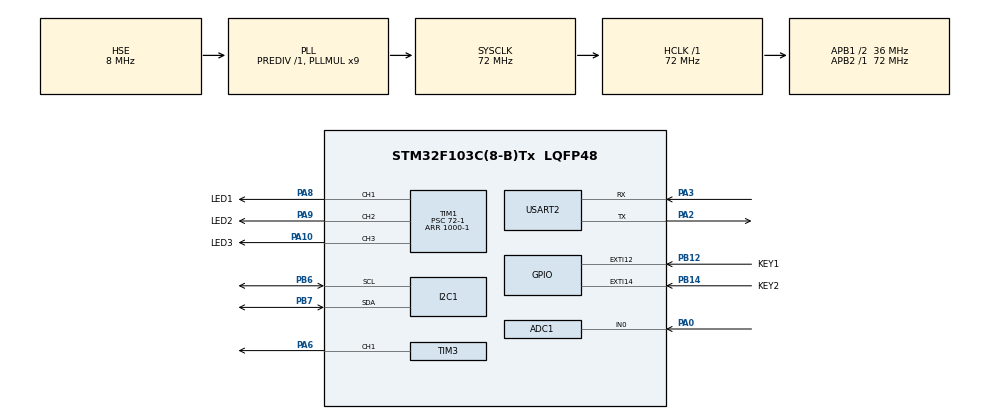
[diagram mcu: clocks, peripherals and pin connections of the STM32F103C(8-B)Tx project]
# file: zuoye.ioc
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ADC1.Channel-0\#ChannelRegularConversion=ADC_CHANNEL_0
ADC1.NbrOfConversionFlag=1
ADC1.Rank-0\#ChannelRegularConversion=1
ADC1.SamplingTime-0\#ChannelRegularConversion=ADC_SAMPLETIME_55CYCLES_5
ADC1.master=1
Dma.Request0=USART2_RX
Dma.Request1=USART2_TX
Dma.USART2_RX.0.Direction=DMA_PERIPH_TO_MEMORY
Dma.USART2_RX.0.Instance=DMA1_Channel6
Dma.USART2_RX.0.MemDataAlignment=DMA_MDATAALIGN_BYTE
Dma.USART2_RX.0.MemInc=DMA_MINC_ENABLE
Dma.USART2_RX.0.Mode=DMA_NORMAL
Dma.USART2_RX.0.PeriphDataAlignment=DMA_PDATAALIGN_BYTE
Dma.USART2_RX.0.PeriphInc=DMA_PINC_DISABLE
Dma.USART2_RX.0.Priority=DMA_PRIORITY_LOW
Dma.USART2_TX.1.Direction=DMA_MEMORY_TO_PERIPH
Dma.USART2_TX.1.Instance=DMA1_Channel7
Dma.USART2_TX.1.MemDataAlignment=DMA_MDATAALIGN_BYTE
Dma.USART2_TX.1.MemInc=DMA_MINC_ENABLE
Dma.USART2_TX.1.Mode=DMA_NORMAL
Dma.USART2_TX.1.PeriphDataAlignment=DMA_PDATAALIGN_BYTE
Dma.USART2_TX.1.PeriphInc=DMA_PINC_DISABLE
Dma.USART2_TX.1.Priority=DMA_PRIORITY_LOW
Mcu.Family=STM32F1
Mcu.Name=STM32F103C(8-B)Tx
Mcu.Package=LQFP48
NVIC.DMA1_Channel6_IRQn=true\:0\:0\:false\:false\:true\:false\:true\:true
NVIC.DMA1_Channel7_IRQn=true\:0\:0\:false\:false\:true\:false\:true\:true
NVIC.EXTI15_10_IRQn=true\:0\:0\:false\:false\:true\:true\:true\:true
NVIC.PriorityGroup=NVIC_PRIORITYGROUP_4
NVIC.USART2_IRQn=true\:0\:0\:false\:false\:true\:false\:true\:true
PA0-WKUP.Signal=ADCx_IN0
PA10.GPIO_Label=LED3
PA10.Signal=S_TIM1_CH3
PA13.Mode=Serial_Wire
PA13.Signal=SYS_JTMS-SWDIO
PA14.Mode=Serial_Wire
PA14.Signal=SYS_JTCK-SWCLK
PA2.Mode=Asynchronous
PA2.Signal=USART2_TX
PA3.Mode=Asynchronous
PA3.Signal=USART2_RX
PA6.Signal=S_TIM3_CH1
PA8.GPIO_Label=LED1
PA8.Signal=S_TIM1_CH1
PA9.GPIO_Label=LED2
PA9.Signal=S_TIM1_CH2
PB12.GPIO_Label=KEY1
PB12.GPIO_ModeDefaultEXTI=GPIO_MODE_IT_RISING_FALLING
PB12.GPIO_PuPd=GPIO_PULLUP
PB12.Signal=GPXTI12
PB14.GPIO_Label=KEY2
PB14.GPIO_ModeDefaultEXTI=GPIO_MODE_IT_RISING_FALLING
PB14.GPIO_PuPd=GPIO_PULLUP
PB14.Signal=GPXTI14
PB6.Mode=I2C
PB6.Signal=I2C1_SCL
PB7.Mode=I2C
PB7.Signal=I2C1_SDA
PD0-OSC_IN.Mode=HSE-External-Oscillator
PD0-OSC_IN.Signal=RCC_OSC_IN
PD1-OSC_OUT.Mode=HSE-External-Oscillator
PD1-OSC_OUT.Signal=RCC_OSC_OUT
ProjectManager.HeapSize=0x200
ProjectManager.StackSize=0x400
ProjectManager.TargetToolchain=CMake
RCC.ADCPresc=RCC_ADCPCLK2_DIV6
RCC.AHBFreq_Value=72000000
RCC.APB1CLKDivider=RCC_HCLK_DIV2
RCC.APB1Freq_Value=36000000
RCC.APB1TimFreq_Value=72000000
RCC.APB2Freq_Value=72000000
RCC.APB2TimFreq_Value=72000000
RCC.HCLKFreq_Value=72000000
RCC.PLLMUL=RCC_PLL_MUL9
RCC.PLLSourceVirtual=RCC_PLLSOURCE_HSE
RCC.SYSCLKFreq_VALUE=72000000
RCC.SYSCLKSource=RCC_SYSCLKSOURCE_PLLCLK
RCC.USBFreq_Value=72000000
SH.ADCx_IN0.0=ADC1_IN0,IN0
SH.S_TIM1_CH1.0=TIM1_CH1,PWM Generation1 CH1
SH.S_TIM1_CH2.0=TIM1_CH2,PWM Generation2 CH2
SH.S_TIM1_CH3.0=TIM1_CH3,PWM Generation3 CH3
SH.S_TIM3_CH1.0=TIM3_CH1,PWM Generation1 CH1
TIM1.Channel-PWM\ Generation1\ CH1=TIM_CHANNEL_1
TIM1.Channel-PWM\ Generation2\ CH2=TIM_CHANNEL_2
TIM1.Channel-PWM\ Generation3\ CH3=TIM_CHANNEL_3
TIM1.OCPolarity_1=TIM_OCPOLARITY_HIGH
TIM1.OCPolarity_2=TIM_OCPOLARITY_HIGH
TIM1.OCPolarity_3=TIM_OCPOLARITY_HIGH
TIM1.Period=1000-1
TIM1.Prescaler=72-1
TIM3.Channel-PWM\ Generation1\ CH1=TIM_CHANNEL_1
TIM3.Prescaler=720-1
USART2.VirtualMode=VM_ASYNC
VP_TIM3_VS_ClockSourceINT.Mode=Internal
board=custom

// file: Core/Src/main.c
/* USER CODE BEGIN Header */
/**
  ******************************************************************************
  * @file           : main.c
  * @brief          : Main program body
  ******************************************************************************
  * @attention
  *
  * Copyright (c) 2026 STMicroelectronics.
  * All rights reserved.
  *
  * This software is licensed under terms that can be found in the LICENSE file
  * in the root directory of this software component.
  * If no LICENSE file comes with this software, it is provided AS-IS.
  *
  ******************************************************************************
  */
/* USER CODE END Header */
#include "main.h"
#include "adc.h"
#include "dma.h"
#include "i2c.h"
#include "tim.h"
#include "usart.h"
#include "gpio.h"

/* USER CODE BEGIN Includes */
#include <stdint.h>
#include <stdio.h>
#include <string.h>
#include"oled.h"
/* USER CODE END Includes */

/* USER CODE BEGIN PV */
uint16_t led_brightness = 0;//呼吸灯的亮度(0-999)
int16_t led_direction = 1;//呼吸灯亮度变化方向：1=变亮，-1=变暗
uint8_t LED_breath_enable = 1;//呼吸灯是否启用
uint32_t last_led_time = 0;//上一次更新呼吸灯亮度的时间，单位 ms

uint32_t key1_last_edge_time = 0;//上一次按键1的电平变化时间，单位 ms
uint8_t key1_wait_double_click = 0;//按键1是否正在等待第二次短按
uint32_t key1_first_click_time = 0;//按键1第一次短按松开的时间，单位 ms
uint8_t key1_is_pressed = 0;//按键1是否正被按住
uint32_t key1_press_start_time = 0;//按键1按下开始的时间，单位 ms
uint8_t key2_is_pressed = 0;//按键2是否正被按住
uint32_t key2_press_start_time = 0;//按键2按下开始的时间，单位 ms
uint32_t key2_last_edge_time = 0;//上一次按键2的电平变化时间，单位 ms
uint8_t key2_wait_double_click = 0;//按键2是否正在等待第二次短按
uint32_t key2_first_click_time = 0;//按键2第一次短按松开的时间，单位 ms
uint8_t both_keys_active = 0;//两个按键正在同时短按
uint8_t LED2_always_on = 0;//LED2是否常亮
 uint8_t LED1_always_on = 0;//LED1是否常亮
uint8_t led3_flash_enable = 0;//LED3是否启用闪烁
uint8_t computercontrol = 0;//是否由电脑控制（电脑或按键）
uint8_t led1mode = 0;//LED1的模式 （0=呼吸，1=闪烁，2=常亮，3=熄灭）
uint8_t led2mode = 0;//LED2的模式 （0=呼吸，1=闪烁，2=常亮，3=熄灭）
uint8_t led3mode = 0;//LED3的模式 （0=呼吸，1=闪烁，2=常亮，3=熄灭）
uint8_t receivedata[100]; //接收数据缓冲区（DMA接收到的电脑数据）
char keytext[20] = "none";//按键文本
char sendata[250]; //发送数据缓冲区（stm32要发送的数据）
uint16_t sendsize = 0;//本次实际要发送的字符数量
uint32_t last_send_time = 0;//上一次串口发送数据的时间，单位 ms
uint8_t mpuok = 0;//mpu是否正常连接
uint8_t mpuid = 0;//读取MPU6050芯片ID
uint8_t mpu6050_data[14];
uint8_t tiltwarning = 0;//倾斜警告
uint16_t adcvalue = 0;//ADC初始值
uint32_t adcvoltage = 0;//ADC换算后的电压值
uint32_t adclastreadtime = 0;//上一次读取ADC的时间，单位 ms

/* 三轴加速度原始值 */
int16_t accelerationX = 0;
int16_t accelerationY = 0;
int16_t accelerationZ = 0;

/* 三轴角速度原始值 */
int16_t gyroX = 0;
int16_t gyroY = 0;
int16_t gyroZ = 0;
uint32_t mpu6050_last_read_time = 0;//上一次读取MPU6050数据的时间，单位 ms
uint32_t lastoledtime = 0;//上一次OLED刷新时间，单位 ms
char oledtext[40] ;//OLED显示的文本
uint8_t oledpage = 0;// 0 MPU6050页面 1 LED页面 2 消息页面 3 计时与PWM页面 4 ADC电压
char messageHistory[10][21]; //最近十条消息历史记录
uint8_t messageCount = 0;//消息数量
uint8_t messageIndex = 0;//当前查看第几条消息（索引从0开始）
uint8_t watchstates = 0;//秒表状态：0是暂停，1是正在计时
uint32_t watchstarttime = 0;//秒表开始计时时间，单位 ms
uint32_t watchnowtotallytime = 0;//秒表当前总时间，单位 ms
uint32_t watchsavedtime = 0;//暂停之前已经累计的时间，单位 ms
uint8_t countdownstates = 0;//倒计时状态：0是暂停，1是正在倒计时
uint32_t countdownstarttime = 0;//倒计时开始计时时间，单位 ms
uint32_t countdownremainingtime = 24 * 60 * 60 * 1000;//倒计时当前剩余时间，单位 ms
uint16_t pwmfrequency = 50;//PWM频率
uint16_t pwmcomparetarget = 150;//比较的目标值
uint16_t pwmnowempty = 150;//输出的compare值
uint16_t pwmchangestep = 1;//PWM变化步长
uint32_t pwmlasttime = 0;//上一次PWMcompare值变化的时间，单位 ms
uint16_t pwmemptypersent = 75;//占空比单位为0.1%
/* USER CODE END PV */

void SystemClock_Config(void);

/* USER CODE BEGIN 0 */
#define KEY_DOUDONG 30U
#define KEY_LONG 800U
#define KEY_DOUBLE_CLICK 350U
#define KEY_SONG_TIME 120U//同时按下两个按键的时间窗口，单位 ms
#define MPU6050_ADDRESS 0x68
#define PWM_TIMER_CLOCK 100000U
#define PWM_MAX_FREQUENCY 999U
#define PWM_MIN_FREQUENCY 2U
#define SERVO_FREQUENCY 50
#define TILT_THRESHOLD 5000

static void Restore_Breathing_Mpu_Mode(void)//两按键同时短按：恢复呼吸灯并进入MPU6050页面
{
    key1_wait_double_click = 0;
    key2_wait_double_click = 0;
    computercontrol = 0;
    LED_breath_enable = 1;
    LED1_always_on = 0;
    LED2_always_on = 0;
    led3_flash_enable = 0;
    oledpage = 0;
    strcpy(keytext,"K1_K2_AN");
}
void MPU6050_Write(uint8_t reg, uint8_t data)
{
    uint8_t writedata[2] = {reg, data};
    HAL_I2C_Master_Transmit(&hi2c1, MPU6050_ADDRESS << 1, writedata, 2,100);

}
void MPU6050_Readdata(uint8_t reg, uint8_t *data, uint8_t len)
{
    HAL_I2C_Master_Transmit(&hi2c1, MPU6050_ADDRESS << 1, &reg, 1, 100);
    HAL_I2C_Master_Receive(&hi2c1, MPU6050_ADDRESS << 1, data, len, 100);
}
void Savemessage(uint16_t Size)
{
    uint8_t i;
    uint8_t messagelength = 0;
    if (messageCount < 10)
    {
        messageIndex = messageCount;
        messageCount++;
    }else
    {
        for (i = 0; i < 9; i++)
        {
            strcpy(messageHistory[i], messageHistory[i + 1]);
        }
        messageIndex = 9;
    }
    while (messagelength < 20 && messagelength + 1 < Size && receivedata[messagelength + 1] != '\n' && receivedata[messagelength + 1] != '\r')
    {
        messageHistory[messageIndex][messagelength] = receivedata[messagelength + 1];
        messagelength++;
    }
    messageHistory[messageIndex][messagelength] = '\0';
    oledpage = 2; //进入消息页面
}
void HAL_GPIO_EXTI_Callback(uint16_t GPIO_Pin)//按键外部中断回调函数
{
    if (GPIO_Pin == KEY1_Pin)
    {
        uint32_t current_time = HAL_GetTick();
        uint32_t press_time;

        if (current_time - key1_last_edge_time < KEY_DOUDONG)
        {
            return;
        }
        key1_last_edge_time = current_time;

        if (HAL_GPIO_ReadPin(KEY1_GPIO_Port, KEY1_Pin) == GPIO_PIN_RESET)
        {
            key1_is_pressed = 1;
            key1_press_start_time = current_time;
            if (key2_is_pressed == 1 && current_time - key2_press_start_time <= KEY_SONG_TIME)
            {
                both_keys_active = 1;
                Restore_Breathing_Mpu_Mode();
            }
            return;
        }

        if (key1_is_pressed == 0)
        {
            return;
        }
        key1_is_pressed = 0;
        if (both_keys_active == 1)
        {
            if (key2_is_pressed == 0)
            {
                both_keys_active = 0;
            }
            return;
        }

        press_time = current_time - key1_press_start_time;
        if (press_time >= KEY_LONG)//K1长按：关闭呼吸灯
        {
            computercontrol = 0;
            LED_breath_enable = 0;
            LED1_always_on = 0;
            LED2_always_on = 0;
            led3_flash_enable = 0;
            key1_wait_double_click = 0;
            strcpy(keytext, "K1_LONG");
        }
        else if (key1_wait_double_click == 1 && current_time - key1_first_click_time <= KEY_DOUBLE_CLICK)//K1双击：LED2常亮/呼吸切换
        {
            computercontrol = 0;
            LED_breath_enable = 1;
            LED2_always_on = !LED2_always_on;
            key1_wait_double_click = 0;
            strcpy(keytext, "K1_DOUBLE_CLICK");
        }
        else
        {
            key1_wait_double_click = 1;
            key1_first_click_time = current_time;
       }
        return;
    }

    if (GPIO_Pin == KEY2_Pin)
    {
        uint32_t current_time = HAL_GetTick();
        uint32_t press_time;

        if (current_time - key2_last_edge_time < KEY_DOUDONG)
        {
            return;
        }
        key2_last_edge_time = current_time;

        if (HAL_GPIO_ReadPin(KEY2_GPIO_Port, KEY2_Pin) == GPIO_PIN_RESET)
        {
            key2_is_pressed = 1;
            key2_press_start_time = current_time;
            if (key1_is_pressed == 1 && current_time - key1_press_start_time <= KEY_SONG_TIME)
            {
                both_keys_active = 1;
                Restore_Breathing_Mpu_Mode();
            }
            return;
        }

        if (key2_is_pressed == 0)
        {
            return;
        }
        key2_is_pressed = 0;
        if (both_keys_active == 1)
        {
            if (key1_is_pressed == 0)
            {
                both_keys_active = 0;
            }
            return;
        }

        press_time = current_time - key2_press_start_time;
        if (press_time >= KEY_LONG)//K2长按：打开呼吸灯并进入消息页面
        {
            computercontrol = 0;
            key2_wait_double_click = 0;
            LED_breath_enable = 1;
            LED1_always_on = 0;
            LED2_always_on = 0;
            led3_flash_enable = 0;
            if (messageCount > 0)
            {
                messageIndex = messageCount - 1;
            }
            oledpage = 2;
            strcpy(keytext, "MESSAGE");
        }
        else if (key2_wait_double_click == 1 && current_time - key2_first_click_time <= KEY_DOUBLE_CLICK)//K2双击：MPU和LED页面切换
        {
            computercontrol = 0;
            key2_wait_double_click = 0;
            oledpage = (oledpage == 0) ? 1 : 0;
            strcpy(keytext, "K2_DOUBLE_CLICK");
        }
        else
        {
            key2_wait_double_click = 1;
            key2_first_click_time = current_time;
        }
    }
}
uint8_t qu_san_ge_shu(uint8_t*text,uint16_t*value)
{
    if (text[0] < '0' || text[0] > '9' || text[1] < '0' || text[1] > '9' || text[2] < '0' || text[2] > '9')
    {
        return 0;
    }
    *value = (text[0] - '0') * 100 + (text[1] - '0') * 10 + (text[2] - '0');
    return 1;
}
void PWM_setempty(uint16_t empty)
{
    uint32_t periodcount;
    if (empty > 999)
    {
        return;
    }
    periodcount = __HAL_TIM_GET_AUTORELOAD(&htim3) + 1;
    pwmemptypersent = empty;
    pwmcomparetarget = (uint16_t)(periodcount * empty / 1000U);

}
void PWM_setfrequency(uint16_t frequency)
{
    uint32_t periodcount;
   if (frequency < PWM_MIN_FREQUENCY || frequency > PWM_MAX_FREQUENCY)
   {
       return;
   }
    periodcount = PWM_TIMER_CLOCK / frequency;
    __HAL_TIM_SET_AUTORELOAD(&htim3,periodcount - 1);
    __HAL_TIM_SET_COUNTER(&htim3, 0);
    pwmfrequency = frequency;
    pwmcomparetarget = (uint16_t)(periodcount * pwmemptypersent / 1000U);
    if (pwmnowempty > periodcount)
    {
        pwmnowempty = (uint16_t)periodcount;
    }
    __HAL_TIM_SET_COMPARE(&htim3, TIM_CHANNEL_1, pwmnowempty);
}
 void servo_setangle(uint16_t angle)
{
    uint16_t empty;
    if (angle > 180)
    {
        return;
    }
    if (pwmfrequency != SERVO_FREQUENCY)
    {
        PWM_setfrequency(SERVO_FREQUENCY);
    }
    /* 普通 180° 舵机使用 1.0 ms～2.0 ms 脉宽，避免两端顶住后抖动。 */
    empty = (uint16_t)(50U + (((uint32_t)angle * 50U + 90U) / 180U));
    PWM_setempty(empty);
}
void PWM_Update(uint32_t current_time)
{
    uint16_t chazhi;
    if (current_time - pwmlasttime < 20)
    {
        return;
    }
    pwmlasttime = current_time;
    if (pwmnowempty < pwmcomparetarget)
    {
        chazhi = pwmcomparetarget - pwmnowempty;
      if (chazhi <= pwmchangestep)
      {
        pwmnowempty = pwmcomparetarget;
      }else
      {
        pwmnowempty = pwmnowempty + pwmchangestep;
      }
      __HAL_TIM_SET_COMPARE(&htim3, TIM_CHANNEL_1, pwmnowempty);
    }
    else if (pwmnowempty > pwmcomparetarget)
    {
        chazhi = pwmnowempty - pwmcomparetarget;
      if (chazhi <= pwmchangestep)
      {
        pwmnowempty = pwmcomparetarget;
      }else
      {
        pwmnowempty = pwmnowempty - pwmchangestep;
      }
      __HAL_TIM_SET_COMPARE(&htim3, TIM_CHANNEL_1, pwmnowempty);
    }

      }
 void countdown_update(uint32_t current_time)
{
    uint32_t timeleft;
    if (countdownstates == 0)
    {
        return;
    }
    timeleft = current_time - countdownstarttime;
    if (timeleft >= countdownremainingtime)
    {
        countdownstates = 0;
        countdownremainingtime = 0;
        strcpy(keytext, "COUNTDOWN_END");
    }else
    {
        countdownremainingtime = countdownremainingtime - timeleft;
        countdownstarttime = current_time;
    }
}
void HAL_UARTEx_RxEventCallback(UART_HandleTypeDef *huart, uint16_t Size)//串口接收回调函数(串口空闲时调用)
{
    uint16_t value;
    if (huart == &huart2)
    {
        if (Size >= 2)
        {
            if (receivedata[0] == '0' && receivedata[1] == '0')
            {
                computercontrol = 0;
            }
            else if (receivedata[0] == '1')
            {
                computercontrol = 1;

                if (receivedata[1] == '1') led1mode = 0;
                if (receivedata[1] == '2') led1mode = 1;
                if (receivedata[1] == '3') led1mode = 2;
                if (receivedata[1] == '4') led1mode = 3;
            }
            else if (receivedata[0] == '2')
            {
                computercontrol = 1;

                if (receivedata[1] == '1') led2mode = 0;
                if (receivedata[1] == '2') led2mode = 1;
                if (receivedata[1] == '3') led2mode = 2;
                if (receivedata[1] == '4') led2mode = 3;
            }
            else if (receivedata[0] == '3')
            {
                computercontrol = 1;

                if (receivedata[1] == '1') led3mode = 0;
                if (receivedata[1] == '2') led3mode = 1;
                if (receivedata[1] == '3') led3mode = 2;
                if (receivedata[1] == '4') led3mode = 3;
            }else if (receivedata[0] == '4')
            {
                if (receivedata[1] == '1') oledpage = 0;
                if (receivedata[1] == '2') oledpage = 1;
                if (receivedata[1] == '3') oledpage = 2;
                if (receivedata[1] == '4') oledpage = 3;
                if (receivedata[1] == '5') oledpage = 4;
            }else if (receivedata[0] == '5')
            {
                oledpage = 3;
                if (receivedata[1] == '1')
                {
                    if (watchstates == 0)
                    {
                        watchstates = 1;
                        watchstarttime = HAL_GetTick();
                        strcpy(keytext, "WATCH_START");
                    }
                }else if (receivedata[1] == '2')
                {
                    if (watchstates == 1)
                    {
                        watchstates = 0;
                        watchsavedtime += HAL_GetTick() - watchstarttime;

                        strcpy(keytext, "WATCH_PAUSE");
                    }
                }else if (receivedata[1] == '3')
                {
                    watchstates = 0;
                    watchsavedtime = 0;
                    watchstarttime = 0;
                    watchnowtotallytime = 0;
                    strcpy(keytext, "WATCH_RESET");
                }
            }else if (receivedata[0] == '6')
            {
                oledpage = 3;
                if (receivedata[1] == '1')
                {
                    if (countdownremainingtime > 0)
                    {
                        countdownstates = 1;
                        countdownstarttime = HAL_GetTick();
                        strcpy(keytext, "COUNTDOWN_START");
                    }
                }else if (receivedata[1] == '2')
                {
                    if (countdownstates == 1)
                    {
                        countdown_update(HAL_GetTick());
                    }
                    countdownstates = 0;
                    strcpy(keytext, "COUNTDOWN_PAUSE");
                }else if (receivedata[1] == '3')
                {
                    countdownstates = 0;
                    countdownremainingtime = 24U * 60U * 60U * 1000U;
                    countdownstarttime = 0;
                    strcpy(keytext, "COUNTDOWN_RESET");
                }
            }else if (receivedata[0] == '7')
            {
                oledpage = 3;
                if (receivedata[1] == '1')
                {
                    servo_setangle(0);
                    strcpy(keytext, "SERVO_0");
                }else if (receivedata[1] == '2')
                {
                    servo_setangle(90);
                    strcpy(keytext, "SERVO_90");
                }else if (receivedata[1] == '3')
                {
                    servo_setangle(180);
                    strcpy(keytext, "SERVO_180");
                }else if (receivedata[1] == '4')
                {
                    pwmchangestep = 1;
                    strcpy(keytext, "PWM_SLOW");
                }else if (receivedata[1] == '5')
                {
                    pwmchangestep = 2;
                    strcpy(keytext, "PWM_MID");
                }else if (receivedata[1] == '6')
                {
                    pwmchangestep = 4;
                    strcpy(keytext, "PWM_FAST");
                }
            }
        else if (receivedata[0] == 'A' && Size >= 4)
        {
            oledpage = 3;
            if (qu_san_ge_shu(&receivedata[1], &value) && (value >= 0 && value <= 180))
            {
                servo_setangle(value);
                strcpy(keytext, "PWM_ANGLE");
            }
        }
        else if (receivedata[0] == 'D' && Size >= 4)
        {
            oledpage = 3;
            if (qu_san_ge_shu(&receivedata[1], &value) && value <= 999)
            {
                PWM_setempty(value);
                strcpy(keytext, "PWM_EMPTY");

            }
        }else if (receivedata[0] == 'R' && Size >= 4)
        {
            oledpage = 3;
            if (qu_san_ge_shu(&receivedata[1], &value) && value >= 1 && value <= 500)
            {
             pwmchangestep = value;
             PWM_Update(HAL_GetTick());
                strcpy(keytext, "PWM_RATE");
            }
        }
        else if (receivedata[0] == 'F' && Size >= 4)
        {
              oledpage = 3;
              if (qu_san_ge_shu(&receivedata[1], &value))
              {
                PWM_setfrequency(value);
                strcpy(keytext, "PWM_FREQ");
              }
        }
    }
}
        HAL_UARTEx_ReceiveToIdle_DMA(&huart2, receivedata, sizeof(receivedata));
        __HAL_DMA_DISABLE_IT(huart2.hdmarx, DMA_IT_HT);
    }

/* USER CODE END 0 */

int main(void)
{

  /* MCU Configuration--------------------------------------------------------*/

  /* Reset of all peripherals, Initializes the Flash interface and the Systick. */
  HAL_Init();

  /* Configure the system clock */
  SystemClock_Config();

  /* Initialize all configured peripherals */
  MX_GPIO_Init();
  MX_DMA_Init();
  MX_TIM1_Init();
  MX_USART2_UART_Init();
  MX_I2C1_Init();
  MX_TIM3_Init();
  MX_ADC1_Init();
  /* USER CODE BEGIN 2 */
   HAL_ADCEx_Calibration_Start(&hadc1);

    HAL_TIM_PWM_Start(&htim1, TIM_CHANNEL_1);
    HAL_TIM_PWM_Start(&htim1, TIM_CHANNEL_2);
    HAL_TIM_PWM_Start(&htim1, TIM_CHANNEL_3);
    PWM_setfrequency(pwmfrequency);
    if (HAL_TIM_PWM_Start(&htim3, TIM_CHANNEL_1) != HAL_OK)
    {
        Error_Handler();
    }

    HAL_Delay(20);
    OLED_Init();
    MPU6050_Write(0x6B, 0x00);//唤醒MPU6050
    MPU6050_Readdata(0x75, &mpuid, 1);//读取MPU6050芯片ID
    if (mpuid == 0x68)
{
    mpuok = 1;
    strcpy(keytext, "MPU_OK");
}
else
{
    mpuok = 0;
    strcpy(keytext, "MPU_ERROR");
}
    HAL_UARTEx_ReceiveToIdle_DMA(&huart2, receivedata, sizeof(receivedata));
    __HAL_DMA_DISABLE_IT(huart2.hdmarx, DMA_IT_HT);

  /* USER CODE END 2 */

  /* Infinite loop */
  /* USER CODE BEGIN WHILE */
  while (1)
  {
    uint32_t current_time = HAL_GetTick();
    uint16_t flashbrightness;
    if (watchstates == 1)
    {
        watchnowtotallytime = watchsavedtime + current_time - watchstarttime;
    }else
    {
    watchnowtotallytime = watchsavedtime;
    }
    countdown_update(current_time);
    PWM_Update(current_time);
    if (current_time - adclastreadtime >= 200)
    {
        adclastreadtime = current_time;
        if (HAL_ADC_Start(&hadc1) == HAL_OK)
        {
            if (HAL_ADC_PollForConversion(&hadc1, 5) == HAL_OK)
        {
            adcvalue = HAL_ADC_GetValue(&hadc1);
            adcvoltage = (uint32_t)adcvalue * 3300 / 4096;
        }
        HAL_ADC_Stop(&hadc1);
        }

    }

    if (key1_wait_double_click == 1 && current_time - key1_first_click_time > KEY_DOUBLE_CLICK)//K1短按：切换呼吸灯开关
    {
        key1_wait_double_click = 0;
        computercontrol = 0;
        LED_breath_enable = !LED_breath_enable;
        LED2_always_on = 0;
        strcpy(keytext, "K1_SHORT");
    }
    if (key2_wait_double_click == 1 && current_time - key2_first_click_time > KEY_DOUBLE_CLICK)//K2短按：其他页面切换LED3闪烁，消息页面查看上一条
    {
        key2_wait_double_click = 0;
        computercontrol = 0;
        if (oledpage == 2 && messageCount > 0)
        {
            if (messageIndex == 0)
            {
                messageIndex = messageCount - 1;
            }
            else
            {
                messageIndex--;
            }
            strcpy(keytext, "MSG_UP");
        }
        else
        {
            led3_flash_enable = !led3_flash_enable;
            strcpy(keytext, "K2_SHORT");
        }
    }
    if (mpuok == 1 && current_time - mpu6050_last_read_time >= 100)
    {
        mpu6050_last_read_time = current_time;
        MPU6050_Readdata(0x3B, mpu6050_data, 14);
        accelerationX = (int16_t)((mpu6050_data[0] << 8) | mpu6050_data[1]);
        accelerationY = (int16_t)((mpu6050_data[2] << 8) | mpu6050_data[3]);
        accelerationZ = (int16_t)((mpu6050_data[4] << 8) | mpu6050_data[5]);
        gyroX = (int16_t)((mpu6050_data[8] << 8) | mpu6050_data[9]);
        gyroY = (int16_t)((mpu6050_data[10] << 8) | mpu6050_data[11]);
        gyroZ = (int16_t)((mpu6050_data[12] << 8) | mpu6050_data[13]);
        if (accelerationX > TILT_THRESHOLD || accelerationX < -TILT_THRESHOLD || accelerationY > TILT_THRESHOLD || accelerationY < -TILT_THRESHOLD)
        {
           tiltwarning = 1;
        }else {
        tiltwarning = 0;
        }
    }

    if (LED_breath_enable == 0)
    {
        __HAL_TIM_SET_COMPARE(&htim1, TIM_CHANNEL_1, 0);
        __HAL_TIM_SET_COMPARE(&htim1, TIM_CHANNEL_2, 0);
        __HAL_TIM_SET_COMPARE(&htim1, TIM_CHANNEL_3, 0);
    }else
    {
        if (current_time - last_led_time >=2)
    {
        last_led_time = current_time;

        if (led_brightness >= 999)
        {
            led_brightness = 999;
            led_direction = -1;
        }
        else if (led_brightness == 0)
        {
            led_direction = 1;
        }
    }
     led_brightness = (uint16_t)((int16_t)led_brightness + led_direction);
        if (LED1_always_on == 1)
        {
            __HAL_TIM_SET_COMPARE(&htim1, TIM_CHANNEL_1, 999);
        }
        else
        {
            __HAL_TIM_SET_COMPARE(&htim1, TIM_CHANNEL_1, led_brightness);
        }
        if (LED2_always_on == 1)
        {
            __HAL_TIM_SET_COMPARE(&htim1, TIM_CHANNEL_2, 999);
        }
        else
        {
            __HAL_TIM_SET_COMPARE(&htim1, TIM_CHANNEL_2, led_brightness);
        }
        if (led3_flash_enable == 1)
        {
            if ((current_time / 100 )% 2 == 0)
            {
                __HAL_TIM_SET_COMPARE(&htim1, TIM_CHANNEL_3, 999);
            }
            else
            {
                __HAL_TIM_SET_COMPARE(&htim1, TIM_CHANNEL_3, 0);
            }
        }
        else
        {
            __HAL_TIM_SET_COMPARE(&htim1, TIM_CHANNEL_3, led_brightness);
        }
    }

    flashbrightness = ((current_time / 100U) % 2U == 0U) ? 999U : 0U;
if (computercontrol == 1)
{

    if (led1mode == 0)
    {
        __HAL_TIM_SET_COMPARE(&htim1, TIM_CHANNEL_1, led_brightness);
    }
    else if (led1mode == 1)
    {
        __HAL_TIM_SET_COMPARE(&htim1, TIM_CHANNEL_1, flashbrightness);
    }
    else if (led1mode == 2)
    {
        __HAL_TIM_SET_COMPARE(&htim1, TIM_CHANNEL_1, 999);
    }
    else if (led1mode == 3)
    {
        __HAL_TIM_SET_COMPARE(&htim1, TIM_CHANNEL_1, 0);
    }
    if (led2mode == 0)
    {
        __HAL_TIM_SET_COMPARE(&htim1, TIM_CHANNEL_2, led_brightness);
    }
    else if (led2mode == 1)
    {
        __HAL_TIM_SET_COMPARE(&htim1, TIM_CHANNEL_2, flashbrightness);
    }
    else if (led2mode == 2)
    {
        __HAL_TIM_SET_COMPARE(&htim1, TIM_CHANNEL_2, 999);
    }
    else if (led2mode == 3)
    {
        __HAL_TIM_SET_COMPARE(&htim1, TIM_CHANNEL_2, 0);
    }
    if (led3mode == 0)
    {
        __HAL_TIM_SET_COMPARE(&htim1, TIM_CHANNEL_3, led_brightness);
    }
    else if (led3mode == 1)
    {
        __HAL_TIM_SET_COMPARE(&htim1, TIM_CHANNEL_3, flashbrightness);
    }
    else if (led3mode == 2)
    {
        __HAL_TIM_SET_COMPARE(&htim1, TIM_CHANNEL_3, 999);
    }
    else if (led3mode == 3)
    {
        __HAL_TIM_SET_COMPARE(&htim1, TIM_CHANNEL_3, 0);
    }
}
if (tiltwarning == 1)
{
    if ((current_time / 100U) % 2U == 0U)
    {
        __HAL_TIM_SET_COMPARE(&htim1, TIM_CHANNEL_3, 999);
    }
    else
    {
        __HAL_TIM_SET_COMPARE(&htim1, TIM_CHANNEL_3, 0);
    }
}
if (current_time - lastoledtime >= 200)
{
    lastoledtime = current_time;
    OLED_NewFrame();
    if (oledpage == 0)
    {
        OLED_PrintASCIIString(0, 0, "MPU6050", &afont8x6, OLED_COLOR_NORMAL);
        snprintf(oledtext, sizeof(oledtext), "AX:%d AY:%d", accelerationX, accelerationY);
        OLED_PrintASCIIString(0, 10, oledtext, &afont8x6, OLED_COLOR_NORMAL);
        snprintf(oledtext, sizeof(oledtext), "AZ:%d", accelerationZ);
        OLED_PrintASCIIString(0, 20, oledtext, &afont8x6, OLED_COLOR_NORMAL);
        snprintf(oledtext, sizeof(oledtext), "GX:%d GY:%d", gyroX, gyroY);
        OLED_PrintASCIIString(0, 30, oledtext, &afont8x6, OLED_COLOR_NORMAL);
        snprintf(oledtext, sizeof(oledtext), "GZ:%d", gyroZ);
        OLED_PrintASCIIString(0, 40, oledtext, &afont8x6, OLED_COLOR_NORMAL);
        if (tiltwarning == 1)
        {
            OLED_PrintASCIIString(0, 50, "TILT WARNING", &afont8x6, OLED_COLOR_NORMAL);
        }
        else {
            OLED_PrintASCIIString(0, 50, "NO TILT WARNING", &afont8x6, OLED_COLOR_NORMAL);
        }
    }
    else if (oledpage == 1)
    {
        OLED_PrintASCIIString(0, 0, "LED CONTROL", &afont8x6, OLED_COLOR_NORMAL);
        snprintf(oledtext, sizeof(oledtext), "LED1:%u", (unsigned int)__HAL_TIM_GET_COMPARE(&htim1, TIM_CHANNEL_1));
        OLED_PrintASCIIString(0, 12, oledtext, &afont8x6, OLED_COLOR_NORMAL);
        snprintf(oledtext, sizeof(oledtext), "LED2:%u", (unsigned int)__HAL_TIM_GET_COMPARE(&htim1, TIM_CHANNEL_2));
        OLED_PrintASCIIString(0, 24, oledtext, &afont8x6, OLED_COLOR_NORMAL);
        snprintf(oledtext, sizeof(oledtext), "LED3:%u", (unsigned int)__HAL_TIM_GET_COMPARE(&htim1, TIM_CHANNEL_3));
        OLED_PrintASCIIString(0, 36, oledtext, &afont8x6, OLED_COLOR_NORMAL);
        snprintf(oledtext, sizeof(oledtext), "KEY:%s", keytext);
        OLED_PrintASCIIString(0, 48, oledtext, &afont8x6, OLED_COLOR_NORMAL);
    }
     else if (oledpage == 2)
    {
        OLED_PrintASCIIString(0, 0, "MESSAGE", &afont8x6, OLED_COLOR_NORMAL);
        if (messageCount == 0)
        {
            OLED_PrintASCIIString(0, 16, "NO MESSAGE", &afont8x6, OLED_COLOR_NORMAL);
        }
        else
        {
            snprintf(oledtext, sizeof(oledtext), "MSG %u/%u", (unsigned int)(messageIndex + 1), (unsigned int)messageCount);
            OLED_PrintASCIIString(0, 16, oledtext, &afont8x6, OLED_COLOR_NORMAL);
            OLED_PrintASCIIString(0, 32, messageHistory[messageIndex], &afont8x6, OLED_COLOR_NORMAL);
        }

    }
    else if (oledpage == 3)
    {
        uint32_t swseconds = watchnowtotallytime / 1000;
        uint32_t swdecisecond = (watchnowtotallytime / 100U) % 10U;
        uint32_t cdseconds = countdownremainingtime / 1000;
        uint32_t pwmperiod = __HAL_TIM_GET_AUTORELOAD(&htim3) + 1U;
        uint32_t pwmduty = (__HAL_TIM_GET_COMPARE(&htim3, TIM_CHANNEL_1) * 1000U) / pwmperiod;
        OLED_PrintASCIIString(0, 0, "TIMER & PWM", &afont8x6, OLED_COLOR_NORMAL);
        snprintf(oledtext, sizeof(oledtext), "SW:%02lu:%02lu:%02lu.%lu %s", (unsigned long)(swseconds / 3600), (unsigned long)((swseconds % 3600) / 60), (unsigned long)(swseconds % 60), (unsigned long)swdecisecond, watchstates ? "RUN" : "PAUSE");
        OLED_PrintASCIIString(0, 12, oledtext, &afont8x6, OLED_COLOR_NORMAL);
        snprintf(oledtext, sizeof(oledtext), "CD:%02lu:%02lu:%02lu %s", (unsigned long)(cdseconds / 3600), (unsigned long)((cdseconds % 3600) / 60), (unsigned long)(cdseconds % 60), countdownstates ? "RUN" : "PAUSE");
        OLED_PrintASCIIString(0, 24, oledtext, &afont8x6, OLED_COLOR_NORMAL);
        snprintf(oledtext,sizeof(oledtext),"F:%uHz D%lu.%lu%%", (unsigned int)pwmfrequency, (unsigned long)(pwmduty / 10U), (unsigned long)(pwmduty % 10U));
        OLED_PrintASCIIString(0, 36, oledtext, &afont8x6, OLED_COLOR_NORMAL);
        snprintf(oledtext,sizeof(oledtext),"CCR:%u R:%u",(unsigned int)pwmnowempty,(unsigned int)pwmchangestep);
        OLED_PrintASCIIString(0, 48, oledtext, &afont8x6, OLED_COLOR_NORMAL);
    }
    else if (oledpage == 4)
    {
        OLED_PrintASCIIString(0, 0, "ADC VOLAGE", &afont8x6, OLED_COLOR_NORMAL);
        snprintf(oledtext,sizeof(oledtext),"RAW:%u", (unsigned int)adcvalue);
        OLED_PrintASCIIString(0, 16, oledtext, &afont8x6, OLED_COLOR_NORMAL);
        snprintf(oledtext,sizeof(oledtext),"VOLAGE:%lu.%03luV", (unsigned long)(adcvoltage / 1000), (unsigned long)(adcvoltage % 1000));
        OLED_PrintASCIIString(0, 32, oledtext, &afont8x6, OLED_COLOR_NORMAL);
        OLED_PrintASCIIString(0, 48, "input:PAO", &afont8x6, OLED_COLOR_NORMAL);
    }

    OLED_ShowFrame();
}
if (current_time - last_send_time >= 200)
{
    int textlength;
    uint32_t swseconds = watchnowtotallytime / 1000;
    uint32_t cdseconds = countdownremainingtime / 1000;
    uint32_t pwmperiod = __HAL_TIM_GET_AUTORELOAD(&htim3) + 1U;
    uint32_t pwmduty = (__HAL_TIM_GET_COMPARE(&htim3, TIM_CHANNEL_1) * 1000U) / pwmperiod;

    textlength = snprintf(sendata, sizeof(sendata), "LED1=%u,LED2=%u,LED3=%u,KEY=%s,"
    "sw=%02lu:%02lu:%02lu,"
    "cd=%02lu:%02lu:%02lu,"
    "pwm=%uHz,empty=%u.%u%%,rate=%u,"
    "AX=%d, AY=%d, AZ=%d, GX=%d, GY=%d, GZ=%d,"
    "ADC = %u,V = %lu.%03luV,"
    "ccr=%u,target=%u\r\n", (unsigned int)__HAL_TIM_GET_COMPARE(&htim1, TIM_CHANNEL_1), (unsigned int)__HAL_TIM_GET_COMPARE(&htim1, TIM_CHANNEL_2), (unsigned int)__HAL_TIM_GET_COMPARE(&htim1, TIM_CHANNEL_3), keytext,(unsigned long)(swseconds / 3600), (unsigned long)((swseconds % 3600) / 60), (unsigned long)(swseconds % 60),
    (unsigned long)(cdseconds / 3600), (unsigned long)((cdseconds % 3600) / 60), (unsigned long)(cdseconds % 60),
    (unsigned int)pwmfrequency, (unsigned int)(pwmduty / 10U), (unsigned int)(pwmduty % 10U),
    (unsigned int)pwmchangestep,accelerationX, accelerationY, accelerationZ,gyroX, gyroY, gyroZ,(unsigned int)adcvalue, (unsigned long)(adcvoltage / 1000), (unsigned long)(adcvoltage % 1000),__HAL_TIM_GET_COMPARE(&htim3,TIM_CHANNEL_1), (unsigned int)pwmcomparetarget );

    if(textlength > 0 && textlength < sizeof(sendata))
    {
    sendsize = (uint16_t)textlength;
    if (HAL_UART_Transmit_DMA(&huart2,(uint8_t*)sendata, sendsize) == HAL_OK)
    {
        last_send_time = current_time;
    }

    }
}
  }

    /* USER CODE END WHILE */

}

void SystemClock_Config(void)
{
  RCC_OscInitTypeDef RCC_OscInitStruct = {0};
  RCC_ClkInitTypeDef RCC_ClkInitStruct = {0};
  RCC_PeriphCLKInitTypeDef PeriphClkInit = {0};

  /** Initializes the RCC Oscillators according to the specified parameters
  * in the RCC_OscInitTypeDef structure.
  */
  RCC_OscInitStruct.OscillatorType = RCC_OSCILLATORTYPE_HSE;
  RCC_OscInitStruct.HSEState = RCC_HSE_ON;
  RCC_OscInitStruct.HSEPredivValue = RCC_HSE_PREDIV_DIV1;
  RCC_OscInitStruct.HSIState = RCC_HSI_ON;
  RCC_OscInitStruct.PLL.PLLState = RCC_PLL_ON;
  RCC_OscInitStruct.PLL.PLLSource = RCC_PLLSOURCE_HSE;
  RCC_OscInitStruct.PLL.PLLMUL = RCC_PLL_MUL9;
  if (HAL_RCC_OscConfig(&RCC_OscInitStruct) != HAL_OK)
  {
    Error_Handler();
  }

  /** Initializes the CPU, AHB and APB buses clocks
  */
  RCC_ClkInitStruct.ClockType = RCC_CLOCKTYPE_HCLK|RCC_CLOCKTYPE_SYSCLK
                              |RCC_CLOCKTYPE_PCLK1|RCC_CLOCKTYPE_PCLK2;
  RCC_ClkInitStruct.SYSCLKSource = RCC_SYSCLKSOURCE_PLLCLK;
  RCC_ClkInitStruct.AHBCLKDivider = RCC_SYSCLK_DIV1;
  RCC_ClkInitStruct.APB1CLKDivider = RCC_HCLK_DIV2;
  RCC_ClkInitStruct.APB2CLKDivider = RCC_HCLK_DIV1;

  if (HAL_RCC_ClockConfig(&RCC_ClkInitStruct, FLASH_LATENCY_2) != HAL_OK)
  {
    Error_Handler();
  }
  PeriphClkInit.PeriphClockSelection = RCC_PERIPHCLK_ADC;
  PeriphClkInit.AdcClockSelection = RCC_ADCPCLK2_DIV6;
  if (HAL_RCCEx_PeriphCLKConfig(&PeriphClkInit) != HAL_OK)
  {
    Error_Handler();
  }
}

void Error_Handler(void)
{
  __disable_irq();
  while (1)
  {
  }
}
